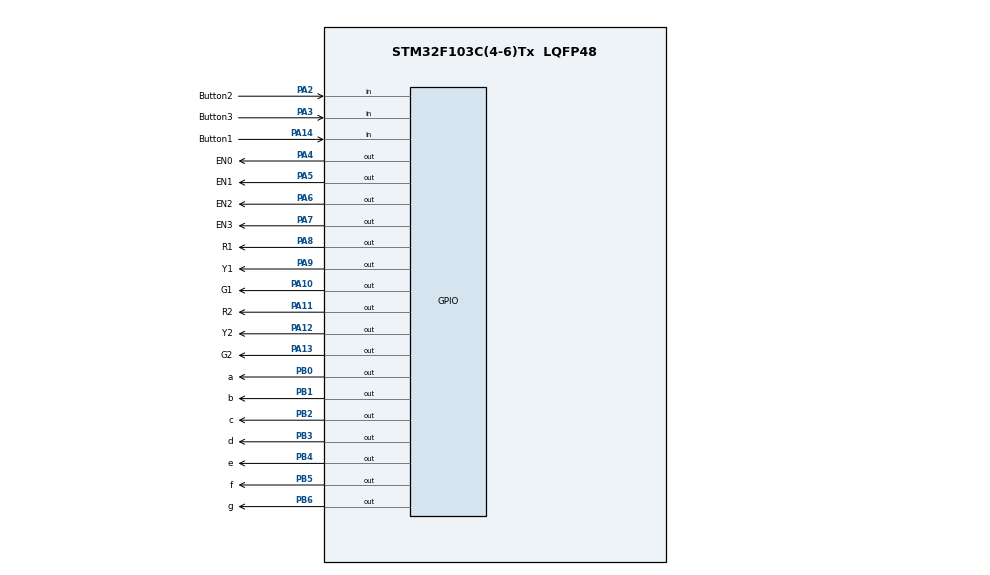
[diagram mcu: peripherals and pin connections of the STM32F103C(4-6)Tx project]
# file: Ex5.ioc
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Mcu.Family=STM32F1
Mcu.Name=STM32F103C(4-6)Tx
Mcu.Package=LQFP48
NVIC.PriorityGroup=NVIC_PRIORITYGROUP_4
NVIC.TIM2_IRQn=true\:0\:0\:false\:false\:true\:true\:true
PA10.GPIO_Label=G1
PA10.Signal=GPIO_Output
PA11.GPIO_Label=R2
PA11.Signal=GPIO_Output
PA12.GPIO_Label=Y2
PA12.Signal=GPIO_Output
PA13.GPIO_Label=G2
PA13.Signal=GPIO_Output
PA14.GPIO_Label=Button1
PA14.GPIO_PuPd=GPIO_PULLUP
PA14.Signal=GPIO_Input
PA2.GPIO_Label=Button2
PA2.GPIO_PuPd=GPIO_PULLUP
PA2.Signal=GPIO_Input
PA3.GPIO_Label=Button3
PA3.GPIO_PuPd=GPIO_PULLUP
PA3.Signal=GPIO_Input
PA4.GPIO_Label=EN0
PA4.Signal=GPIO_Output
PA5.GPIO_Label=EN1
PA5.Signal=GPIO_Output
PA6.GPIO_Label=EN2
PA6.Signal=GPIO_Output
PA7.GPIO_Label=EN3
PA7.Signal=GPIO_Output
PA8.GPIO_Label=R1
PA8.Signal=GPIO_Output
PA9.GPIO_Label=Y1
PA9.Signal=GPIO_Output
PB0.GPIO_Label=a
PB0.Signal=GPIO_Output
PB1.GPIO_Label=b
PB1.Signal=GPIO_Output
PB2.GPIO_Label=c
PB2.Signal=GPIO_Output
PB3.GPIO_Label=d
PB3.Signal=GPIO_Output
PB4.GPIO_Label=e
PB4.Signal=GPIO_Output
PB5.GPIO_Label=f
PB5.Signal=GPIO_Output
PB6.GPIO_Label=g
PB6.Signal=GPIO_Output
ProjectManager.HeapSize=0x200
ProjectManager.StackSize=0x400
ProjectManager.TargetToolchain=STM32CubeIDE
RCC.APB1Freq_Value=8000000
RCC.APB2Freq_Value=8000000
TIM2.Period=9
TIM2.Prescaler=7999
VP_SYS_VS_ND.Mode=No_Debug
VP_TIM2_VS_ClockSourceINT.Mode=Internal
board=custom

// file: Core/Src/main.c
/* USER CODE BEGIN Header */
/**
  ******************************************************************************
  * @file           : main.c
  * @brief          : Main program body
  ******************************************************************************
  * @attention
  *
  * <h2><center>&copy; Copyright (c) 2022 STMicroelectronics.
  * All rights reserved.</center></h2>
  *
  * This software component is licensed by ST under BSD 3-Clause license,
  * the "License"; You may not use this file except in compliance with the
  * License. You may obtain a copy of the License at:
  *                        opensource.org/licenses/BSD-3-Clause
  *
  ******************************************************************************
  */
/* USER CODE END Header */
#include "main.h"
#include "mode.h"
#include "timer.h"
#include "display7seg.h"
#include "input_reading.h"
#include "fsm_auto.h"

TIM_HandleTypeDef htim2;

void SystemClock_Config(void);
static void MX_GPIO_Init(void);
static void MX_TIM2_Init(void);

int main(void)
{

  /* MCU Configuration--------------------------------------------------------*/

  /* Reset of all peripherals, Initializes the Flash interface and the Systick. */
  HAL_Init();

  /* Configure the system clock */
  SystemClock_Config();

  /* Initialize all configured peripherals */
  MX_GPIO_Init();
  MX_TIM2_Init();
  /* USER CODE BEGIN 2 */
  HAL_TIM_Base_Start_IT (& htim2 );
  /* USER CODE END 2 */

  /* Infinite loop */
  /* USER CODE BEGIN WHILE */
	HAL_GPIO_WritePin(GPIOA, R2_Pin|G1_Pin,GPIO_PIN_RESET);
  setTimer1(20);
	setTimer2(traffic_time*100);
	setTimer3(100);
	traffic1_led = led_time[2];
	traffic2_led = led_time[0];
  while (1)
  {
    /* USER CODE END WHILE */
    /* USER CODE BEGIN 3 */
	 if(timer1_flag==1){
		 update7SEG(index_led++);
		 if(index_led > 3){
			 index_led = 0;
		 }
		 setTimer1(20);
	 }
	  fsm_for_input_processing();
	  mode_changing(mode);
  }
  /* USER CODE END 3 */
}

void SystemClock_Config(void)
{
  RCC_OscInitTypeDef RCC_OscInitStruct = {0};
  RCC_ClkInitTypeDef RCC_ClkInitStruct = {0};

  /** Initializes the RCC Oscillators according to the specified parameters
  * in the RCC_OscInitTypeDef structure.
  */
  RCC_OscInitStruct.OscillatorType = RCC_OSCILLATORTYPE_HSI;
  RCC_OscInitStruct.HSIState = RCC_HSI_ON;
  RCC_OscInitStruct.HSICalibrationValue = RCC_HSICALIBRATION_DEFAULT;
  RCC_OscInitStruct.PLL.PLLState = RCC_PLL_NONE;
  if (HAL_RCC_OscConfig(&RCC_OscInitStruct) != HAL_OK)
  {
    Error_Handler();
  }
  /** Initializes the CPU, AHB and APB buses clocks
  */
  RCC_ClkInitStruct.ClockType = RCC_CLOCKTYPE_HCLK|RCC_CLOCKTYPE_SYSCLK
                              |RCC_CLOCKTYPE_PCLK1|RCC_CLOCKTYPE_PCLK2;
  RCC_ClkInitStruct.SYSCLKSource = RCC_SYSCLKSOURCE_HSI;
  RCC_ClkInitStruct.AHBCLKDivider = RCC_SYSCLK_DIV1;
  RCC_ClkInitStruct.APB1CLKDivider = RCC_HCLK_DIV1;
  RCC_ClkInitStruct.APB2CLKDivider = RCC_HCLK_DIV1;

  if (HAL_RCC_ClockConfig(&RCC_ClkInitStruct, FLASH_LATENCY_0) != HAL_OK)
  {
    Error_Handler();
  }
}

static void MX_TIM2_Init(void)
{

  TIM_ClockConfigTypeDef sClockSourceConfig = {0};
  TIM_MasterConfigTypeDef sMasterConfig = {0};

  htim2.Instance = TIM2;
  htim2.Init.Prescaler = 7999;
  htim2.Init.CounterMode = TIM_COUNTERMODE_UP;
  htim2.Init.Period = 9;
  htim2.Init.ClockDivision = TIM_CLOCKDIVISION_DIV1;
  htim2.Init.AutoReloadPreload = TIM_AUTORELOAD_PRELOAD_DISABLE;
  if (HAL_TIM_Base_Init(&htim2) != HAL_OK)
  {
    Error_Handler();
  }
  sClockSourceConfig.ClockSource = TIM_CLOCKSOURCE_INTERNAL;
  if (HAL_TIM_ConfigClockSource(&htim2, &sClockSourceConfig) != HAL_OK)
  {
    Error_Handler();
  }
  sMasterConfig.MasterOutputTrigger = TIM_TRGO_RESET;
  sMasterConfig.MasterSlaveMode = TIM_MASTERSLAVEMODE_DISABLE;
  if (HAL_TIMEx_MasterConfigSynchronization(&htim2, &sMasterConfig) != HAL_OK)
  {
    Error_Handler();
  }

}

static void MX_GPIO_Init(void)
{
  GPIO_InitTypeDef GPIO_InitStruct = {0};

  /* GPIO Ports Clock Enable */
  __HAL_RCC_GPIOA_CLK_ENABLE();
  __HAL_RCC_GPIOB_CLK_ENABLE();

  /*Configure GPIO pin Output Level */
  HAL_GPIO_WritePin(GPIOA, EN0_Pin|EN1_Pin|EN2_Pin|EN3_Pin
                          |R1_Pin|Y1_Pin|G1_Pin|R2_Pin
                          |Y2_Pin|G2_Pin, GPIO_PIN_SET);

  /*Configure GPIO pin Output Level */
  HAL_GPIO_WritePin(GPIOB, a_Pin|b_Pin|c_Pin|d_Pin
                          |e_Pin|f_Pin|g_Pin, GPIO_PIN_RESET);

  /*Configure GPIO pins : Button2_Pin Button3_Pin Button1_Pin */
  GPIO_InitStruct.Pin = Button2_Pin|Button3_Pin|Button1_Pin;
  GPIO_InitStruct.Mode = GPIO_MODE_INPUT;
  GPIO_InitStruct.Pull = GPIO_PULLUP;
  HAL_GPIO_Init(GPIOA, &GPIO_InitStruct);

  /*Configure GPIO pins : EN0_Pin EN1_Pin EN2_Pin EN3_Pin
                           R1_Pin Y1_Pin G1_Pin R2_Pin
                           Y2_Pin G2_Pin */
  GPIO_InitStruct.Pin = EN0_Pin|EN1_Pin|EN2_Pin|EN3_Pin
                          |R1_Pin|Y1_Pin|G1_Pin|R2_Pin
                          |Y2_Pin|G2_Pin;
  GPIO_InitStruct.Mode = GPIO_MODE_OUTPUT_PP;
  GPIO_InitStruct.Pull = GPIO_NOPULL;
  GPIO_InitStruct.Speed = GPIO_SPEED_FREQ_LOW;
  HAL_GPIO_Init(GPIOA, &GPIO_InitStruct);

  /*Configure GPIO pins : a_Pin b_Pin c_Pin d_Pin
                           e_Pin f_Pin g_Pin */
  GPIO_InitStruct.Pin = a_Pin|b_Pin|c_Pin|d_Pin
                          |e_Pin|f_Pin|g_Pin;
  GPIO_InitStruct.Mode = GPIO_MODE_OUTPUT_PP;
  GPIO_InitStruct.Pull = GPIO_NOPULL;
  GPIO_InitStruct.Speed = GPIO_SPEED_FREQ_LOW;
  HAL_GPIO_Init(GPIOB, &GPIO_InitStruct);

}

/* USER CODE BEGIN 4 */

void HAL_TIM_PeriodElapsedCallback ( TIM_HandleTypeDef * htim ){
	timerRun();
	button_reading();

}
/* USER CODE END 4 */

void Error_Handler(void)
{
  __disable_irq();
  while (1)
  {
  }
}

/************************ (C) COPYRIGHT STMicroelectronics *****END OF FILE****/
